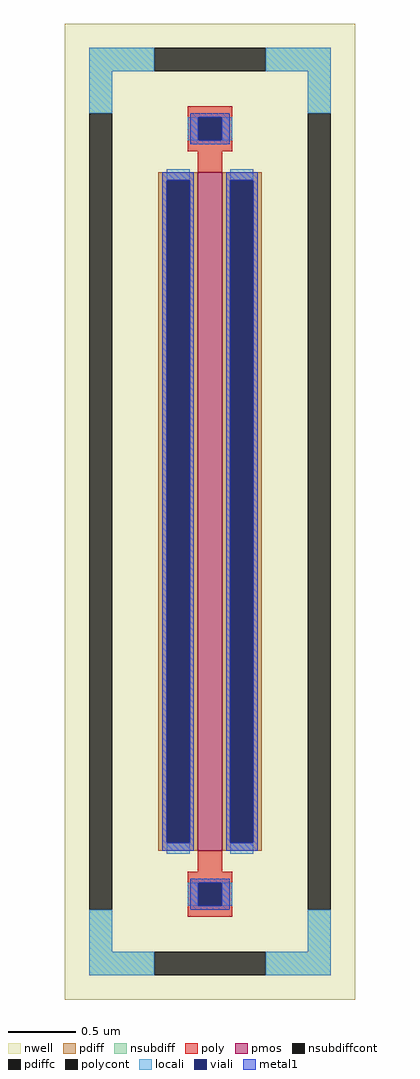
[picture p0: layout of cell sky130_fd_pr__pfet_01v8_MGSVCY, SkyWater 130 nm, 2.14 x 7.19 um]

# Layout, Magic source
magic
tech sky130A
magscale 1 2
<< nwell >>
rect -214 -719 214 719
<< pmos >>
rect -18 -500 18 500
<< pdiff >>
rect -76 488 -18 500
rect -76 -488 -64 488
rect -30 -488 -18 488
rect -76 -500 -18 -488
rect 18 488 76 500
rect 18 -488 30 488
rect 64 -488 76 488
rect 18 -500 76 -488
<< pdiffc >>
rect -64 -488 -30 488
rect 30 -488 64 488
<< nsubdiff >>
rect -178 649 -82 683
rect 82 649 178 683
rect -178 587 -144 649
rect 144 587 178 649
rect -178 -649 -144 -587
rect 144 -649 178 -587
rect -178 -683 -82 -649
rect 82 -683 178 -649
<< nsubdiffcont >>
rect -82 649 82 683
rect -178 -587 -144 587
rect 144 -587 178 587
rect -82 -683 82 -649
<< poly >>
rect -33 581 33 597
rect -33 547 -17 581
rect 17 547 33 581
rect -33 531 33 547
rect -18 500 18 531
rect -18 -531 18 -500
rect -33 -547 33 -531
rect -33 -581 -17 -547
rect 17 -581 33 -547
rect -33 -597 33 -581
<< polycont >>
rect -17 547 17 581
rect -17 -581 17 -547
<< locali >>
rect -178 649 -82 683
rect 82 649 178 683
rect -178 587 -144 649
rect 144 587 178 649
rect -33 547 -17 581
rect 17 547 33 581
rect -64 488 -30 504
rect -64 -504 -30 -488
rect 30 488 64 504
rect 30 -504 64 -488
rect -33 -581 -17 -547
rect 17 -581 33 -547
rect -178 -649 -144 -587
rect 144 -649 178 -587
rect -178 -683 -82 -649
rect 82 -683 178 -649
<< viali >>
rect -17 547 17 581
rect -64 -488 -30 488
rect 30 -488 64 488
rect -17 -581 17 -547
<< metal1 >>
rect -29 581 29 587
rect -29 547 -17 581
rect 17 547 29 581
rect -29 541 29 547
rect -70 488 -24 500
rect -70 -488 -64 488
rect -30 -488 -24 488
rect -70 -500 -24 -488
rect 24 488 70 500
rect 24 -488 30 488
rect 64 -488 70 488
rect 24 -500 70 -488
rect -29 -547 29 -541
rect -29 -581 -17 -547
rect 17 -581 29 -547
rect -29 -587 29 -581
<< properties >>
string FIXED_BBOX -161 -666 161 666
string gencell sky130_fd_pr__pfet_01v8
string library sky130
string parameters w 5.0 l 0.18 m 1 nf 1 diffcov 100 polycov 100 guard 1 glc 1 grc 1 gtc 1 gbc 1 tbcov 100 rlcov 100 topc 1 botc 1 poverlap 0 doverlap 1 lmin 0.15 wmin 0.42 compatible {sky130_fd_pr__pfet_01v8  sky130_fd_pr__pfet_01v8_lvt sky130_fd_pr__pfet_01v8_hvt  sky130_fd_pr__pfet_g5v0d10v5} full_metal 1 viasrc 100 viadrn 100 viagate 100 viagb 0 viagr 0 viagl 0 viagt 0
<< end >>
